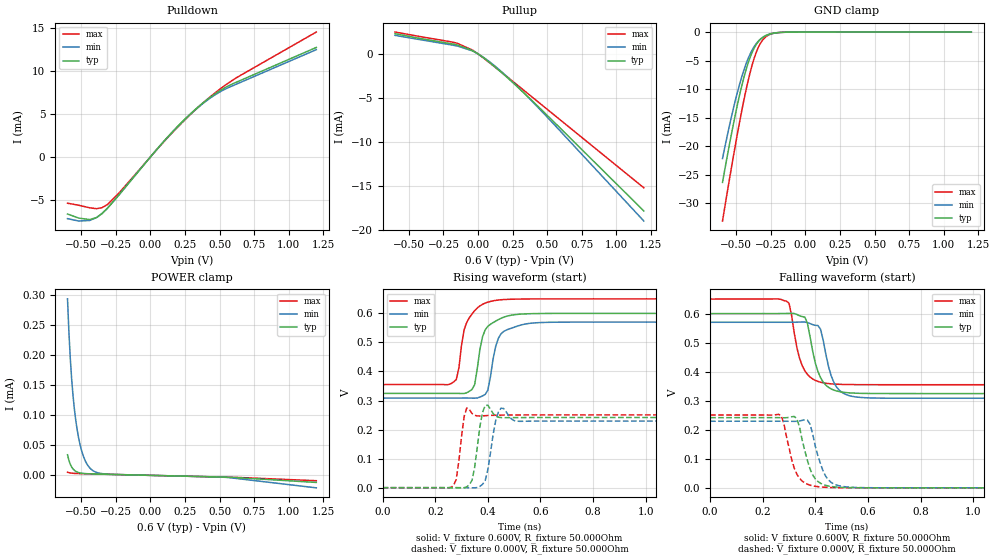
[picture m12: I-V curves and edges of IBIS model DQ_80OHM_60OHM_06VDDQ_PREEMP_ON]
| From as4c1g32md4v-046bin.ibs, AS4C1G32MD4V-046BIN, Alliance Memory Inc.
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|   MODEL: DQ_80OHM_60OHM_06VDDQ_PREEMP_ON
[Model]   DQ_80OHM_60OHM_06VDDQ_PREEMP_ON
Model_type   I/O
Polarity   Non-Inverting
Enable   Active-High
Vinl   = 0.080V
Vinh   = 0.220V
Vmeas   = 0.150V
Vref   = 0.150V
Cref   = 0.000pF
Rref   = 50.000Ohm
|   typ   min   max
C_comp   0.875pF   0.788pF   0.963pF
[Voltage Range]   0.600V   0.570V   0.650V
[Temperature Range]   25.0   95.0   -40.0
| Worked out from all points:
|   slope of the pulldown table from 0 to 0.09 V, typ, clamps not added: 53.4 ohm
|   slope of the pullup table from 0 to 0.09 V, typ, clamps not added: 85.1 ohm
|   GND clamp passes 1 mA (typ) near -0.31 V on its own axis
|   rising waveform, V_fixture 0.600V, R_fixture 50.000Ohm: 20-80 % time 36.8ps typ, 37ps min, 44ps max; typ from 0.325 V to 0.6 V
|   falling waveform, V_fixture 0.600V, R_fixture 50.000Ohm: 20-80 % time 45.1ps typ, 44.6ps min, 43.6ps max; typ from 0.6 V to 0.325 V
|   rising waveform, V_fixture 0.000V, R_fixture 50.000Ohm: 20-80 % time 22.4ps typ, 24.5ps min, 20.2ps max; typ from 0 V to 0.242 V
|   falling waveform, V_fixture 0.000V, R_fixture 50.000Ohm: 20-80 % time 44.5ps typ, 45.8ps min, 43.3ps max; typ from 0.242 V to 0 V
[Pulldown]
|   Voltage   I(typ)   I(min)   I(max)
-600mV    -6.622mA   -7.161mA   -5.37mA
-520mV    -7.091mA   -7.435mA   -5.601mA
-440mV    -7.271mA   -7.376mA   -5.905mA
-390mV    -7.03mA    -7.035mA   -6.003mA
-350mV    -6.576mA   -6.556mA   -5.886mA
-310mV    -5.94mA    -5.927mA   -5.511mA
-230mV    -4.449mA   -4.449mA   -4.23mA
130mV     2.399mA    2.387mA    2.329mA
270mV     4.704mA    4.669mA    4.626mA
400mV     6.524mA    6.445mA    6.534mA
580mV     8.367mA    8.152mA    8.746mA
1.2V      12.7mA     12.44mA    14.49mA
[Pullup]
|   Voltage   I(typ)   I(min)   I(max)
-600mV    2.295mA    2.104mA    2.481mA
-150mV    1.015mA    894.4uA    1.202mA
-40mV     380.4uA    335.1uA    430.4uA
70mV      -807.4uA   -742.4uA   -846.5uA
210mV     -2.672mA   -2.598mA   -2.601mA
400mV     -5.461mA   -5.538mA   -5.023mA
1.2V      -17.89mA   -19.03mA   -15.25mA
[GND Clamp]
|   Voltage   I(typ)   I(min)   I(max)
-600mV    -26.36mA   -22.19mA   -33.14mA
-550mV    -19.73mA   -16.43mA   -25.84mA
-510mV    -14.79mA   -12.27mA   -20.24mA
-470mV    -10.36mA   -8.615mA   -14.96mA
-430mV    -6.627mA   -5.609mA   -10.17mA
-390mV    -3.805mA   -3.349mA   -6.151mA
-360mV    -2.341mA   -2.151mA   -3.819mA
-320mV    -1.14mA    -1.122mA   -1.755mA
-280mV    -524.1uA   -555.5uA   -715.7uA
-230mV    -184.4uA   -215.6uA   -213.3uA
-140mV    -20.29uA   -29.99uA   -17.96uA
1.2V      6.836uA    7.386uA    6.714uA
[POWER Clamp]
|   Voltage   I(typ)   I(min)   I(max)
-600mV    34.27uA    294.1uA    5.169uA
-590mV    25uA       238.9uA    4.47uA
-570mV    13.84uA    160.6uA    3.674uA
-560mV    10.58uA    132.6uA    3.444uA
-540mV    6.655uA    91.24uA    3.146uA
-520mV    4.678uA    62.84uA    2.957uA
-490mV    3.339uA    35.2uA     2.748uA
-460mV    2.772uA    19.1uA     2.569uA
-420mV    2.39uA     8.47uA     2.342uA
-300mV    1.671uA    1.938uA    1.671uA
560mV     -3.13uA    -3.595uA   -3.086uA
1.2V      -11.8uA    -20.82uA   -8.926uA
[Ramp]
R_load = 50.000Ohm
|   typ   min   max
dV/dt_r   0.165V/40.000ps   0.157V/40.000ps   0.177V/40.000ps
dV/dt_f   0.165V/40.000ps   0.157V/50.000ps   0.177V/40.000ps
|Slew_r   4.132V/ns   3.924V/ns   4.425V/ns
|Slew_f   4.130V/ns   3.137V/ns   4.423V/ns
[Rising Waveform]
V_fixture = 0.600V
V_fixture_min = 0.570V
V_fixture_max = 0.650V
R_fixture = 50.000Ohm
L_fixture = 0.000nH
C_fixture = 0.000pF
|dV/dt_r   0.165V/40.000ps   0.157V/40.000ps   0.177V/40.000ps
|Slew_r   4.132V/ns   3.924V/ns   4.425V/ns
|   Time   V(typ)   V(min)   V(max)
0s        324.5mV    308.4mV    355mV
270ps     324.7mV    308.4mV    364.2mV
290ps     324.5mV    308.5mV    411.9mV
310ps     324.3mV    308.6mV    544mV
350ps     355.1mV    308.2mV    609.5mV
390ps     543.5mV    321mV      635.4mV
430ps     573.5mV    487.3mV    644.8mV
460ps     586.8mV    537.7mV    647.6mV
660ps     599.9mV    569.7mV    650mV
5ns       600mV      570mV      650mV
[Falling Waveform]
V_fixture = 0.600V
V_fixture_min = 0.570V
V_fixture_max = 0.650V
R_fixture = 50.000Ohm
L_fixture = 0.000nH
C_fixture = 0.000pF
|dV/dt_f   0.165V/40.000ps   0.157V/50.000ps   0.177V/40.000ps
|Slew_f   4.130V/ns   3.137V/ns   4.423V/ns
|   Time   V(typ)   V(min)   V(max)
0s        599.9mV    569.9mV    649.9mV
290ps     600.3mV    570mV      642.9mV
300ps     600.7mV    570mV      635.6mV
330ps     596.9mV    570.3mV    482.5mV
360ps     587.9mV    570.7mV    403.1mV
420ps     379.1mV    545.7mV    363.6mV
470ps     336.6mV    363.8mV    357.4mV
520ps     327.7mV    319.9mV    355.7mV
640ps     324.7mV    308.9mV    355mV
5ns       324.6mV    308.4mV    355mV
[Rising Waveform]
V_fixture = 0.000V
V_fixture_min = 0.000V
V_fixture_max = 0.000V
R_fixture = 50.000Ohm
L_fixture = 0.000nH
C_fixture = 0.000pF
|dV/dt_r   0.145V/20.000ps   0.138V/30.000ps   0.150V/20.000ps
|Slew_r   7.249V/ns   4.586V/ns   7.519V/ns
|   Time   V(typ)   V(min)   V(max)
0s        4.875uV    14.43uV    2.082uV
270ps     75.89uV    15.82uV    8.4mV
320ps     2.774mV    -26.16uV   274.6mV
340ps     25.54mV    -460.7uV   255.5mV
380ps     259.8mV    11.61mV    247.4mV
400ps     283.9mV    61.94mV    248.4mV
430ps     246.3mV    231.2mV    249.3mV
450ps     241.3mV    273.6mV    249.7mV
520ps     241.4mV    228.5mV    250.4mV
5ns       241.6mV    229.3mV    250.6mV
[Falling Waveform]
V_fixture = 0.000V
V_fixture_min = 0.000V
V_fixture_max = 0.000V
R_fixture = 50.000Ohm
L_fixture = 0.000nH
C_fixture = 0.000pF
|dV/dt_f   0.145V/40.000ps   0.138V/40.000ps   0.150V/40.000ps
|Slew_f   3.624V/ns   3.439V/ns   3.759V/ns
|   Time   V(typ)   V(min)   V(max)
0s        241.6mV    229.3mV    250.6mV
270ps     241.4mV    229.3mV    248.9mV
320ps     245.8mV    228.8mV    67.38mV
340ps     209.1mV    230.2mV    32.81mV
380ps     64.76mV    218.7mV    9.169mV
410ps     21.57mV    109.8mV    4.054mV
440ps     8.332mV    38.89mV    1.916mV
490ps     2.182mV    7.176mV    539.8uV
610ps     126.8uV    404.5uV    79.92uV
5ns       5.283uV    14.82uV    2.551uV
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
